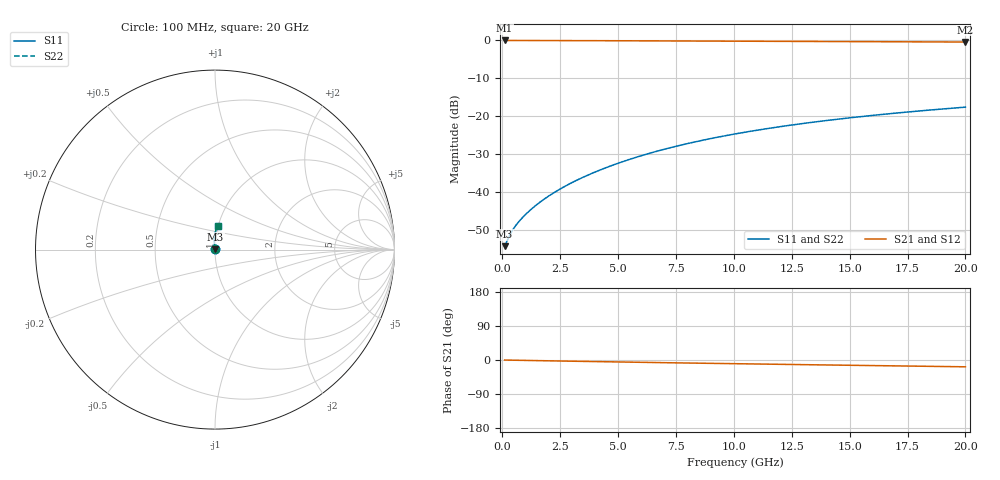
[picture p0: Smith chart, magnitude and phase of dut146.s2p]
! Touchstone file exported from HFSS 2024.1.0
!  File:  C:/UserFiles/LocalFiles/RDL_TSV_Batchsim/temp_RDL_top_146_1778684942.aedt
!  Generated:  11:10:56 PM May 13, 2026
!  Design:  RDL_top
!  Project:  temp_RDL_top_146_1778684942
!  Setup:  Setup1
!  Solution:  Sweep
! Variables:
!  dtsv = 10.80580581um
!  hbump = 3um
!  htsv = 92.41um
!  ldown = 100um
!  lrdl = 277.18um
!  p = 40
!  p1 = 40.77um
!  rhole = 1um
!  t = 450um
!  tdown = 3.915915916um
!  trdl = 2.4um
!  wdown = 15.38538539um
!  wrdl = 28.49um
# GHz S MA R 50.000000
! Terminal data exported
! Port[1] = Box2_T1
! Port[2] = Box2_T2
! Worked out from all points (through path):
!   200 points, 100 MHz to 20 GHz, reference 50 ohm
!   highest |S21| = -0.02 dB at 100 MHz (marker M1); lowest = -0.4 dB at 20 GHz (marker M2)
!   group delay of S21, straight-line fit = 2.46 ps
!   lowest |S11| = -54.3 dB at 100 MHz (marker M3), VSWR 1.00, Z = 50.2 + j0.0589 ohm
!   |S11| at or under -10 dB: start of sweep to end of sweep
!   |S22| runs from -54.3 to -17.6 dB; largest |S21 - S12| = 6.2e-15
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0.1  0.00192 17.8  0.9982 -0.1  0.9982 -0.1  0.00192 17.8
! Gamma 0 0 0 0
! Port Impedance 50 0 50 0
0.3  0.002594 38.8  0.9979 -0.3  0.9979 -0.3  0.002594 38.8
0.4  0.002964 44.4  0.9978 -0.5  0.9978 -0.5  0.002964 44.4
0.5  0.00332 48.7  0.9976 -0.6  0.9976 -0.6  0.003319 48.7
0.6  0.003663 52.2  0.9975 -0.7  0.9975 -0.7  0.003663 52.2
0.8  0.004337 58.1  0.9973 -0.9  0.9973 -0.9  0.004336 58.1
1.2  0.005723 67.2  0.9968 -1.3  0.9968 -1.3  0.005723 67.2
1.7  0.007599 75.2  0.9962 -1.8  0.9962 -1.8  0.007599 75.2
2.2  0.009636 80.8  0.9955 -2.4  0.9955 -2.4  0.009636 80.8
2.8  0.01229 85.6  0.9944 -3.0  0.9944 -3.0  0.01229 85.6
3.5  0.01566 89.6  0.9929 -3.7  0.9929 -3.7  0.01566 89.6
4.2  0.01933 92.4  0.9913 -4.4  0.9913 -4.4  0.01934 92.4
5  0.02388 94.4  0.9892 -5.2  0.9892 -5.2  0.02388 94.4
5.9  0.02938 95.7  0.9866 -6.1  0.9866 -6.1  0.02939 95.8
6.8  0.03523 96.3  0.984 -6.9  0.984 -6.9  0.03524 96.3
8.4  0.04627 96.1  0.9794 -8.3  0.9794 -8.3  0.04628 96.1
10.1  0.05857 94.8  0.9746 -9.8  0.9746 -9.8  0.05858 94.8
11.7  0.0704 93.2  0.9703 -11.2  0.9703 -11.2  0.07042 93.2
13.4  0.08307 91.3  0.9661 -12.6  0.9661 -12.6  0.0831 91.3
15  0.09497 89.4  0.9623 -13.9  0.9623 -13.9  0.095 89.4
16.7  0.1075 87.3  0.9585 -15.3  0.9585 -15.3  0.1075 87.3
20  0.1314 83.4  0.9516 -18.0  0.9516 -18.0  0.1314 83.4
